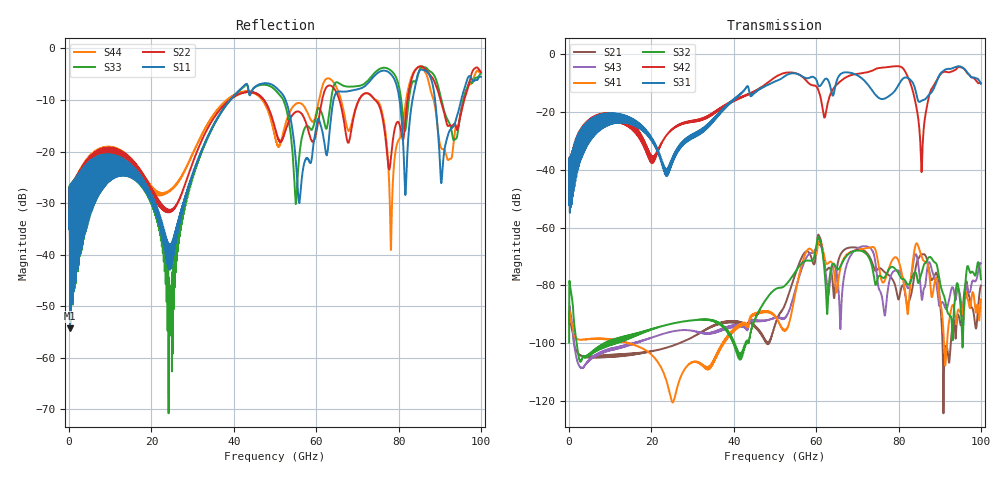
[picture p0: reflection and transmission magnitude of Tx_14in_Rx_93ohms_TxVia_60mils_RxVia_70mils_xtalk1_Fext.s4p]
! Info: Touchstone file created by Circ.  Input file=Tx_14in_Rx_93ohms_TxVia_60mils_RxVia_70mils.circ
# Hz S RI R 50
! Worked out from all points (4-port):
!   10000 points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, 10 MHz to 100 GHz, reference 50 ohm
!   strongest paths, dB at 10 MHz, 25.01 GHz, 50.01 GHz, 75.01 GHz, 100 GHz:
!     S31: -52.2, -36.8, -9.4, -14.9, -10.2
!     S42: -51.5, -26.1, -8.0, -4.8, -10.0
!     S32: -99.8, -93.3, -81.4, -77.3, -77.9
!     S41: -90.9, -120.3, -90.9, -71.8, -84.9
!     S43: -90.3, -96.0, -91.1, -79.7, -72.4
!     S21: -91.1, -101.0, -93.5, -74.2, -80.1
!   lowest |S11| = -54.3 dB at 230 MHz (marker M1), VSWR 1.00, Z = 49.9 + j0.127 ohm
!   |S11| at or under -10 dB: start of sweep to 39.15 GHz; 52.54 GHz to 64.22 GHz (11.67 GHz wide, 20 % of centre); 88.87 GHz to 95.21 GHz (6.336 GHz wide, 6.88 % of centre)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
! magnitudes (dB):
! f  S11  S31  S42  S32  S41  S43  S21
! 10 MHz  -35.1  -52.2  -51.5  -99.8  -90.9  -90.3  -91.1
! 230 MHz  -54.3  -44.1  -44.1  -80.1  -90.7  -88.4  -91.9
! 24.59 GHz  -42.5  -37.4  -26.5  -93.4  -118.3  -96.1  -101.2
! 42.67 GHz  -7.1  -12.3  -14.5  -100.8  -92.9  -94.2  -93.3
! 78.18 GHz  -5.0  -14.0  -4.3  -73.7  -72.1  -76.5  -77.2
! 85.58 GHz  -4.1  -16.1  -40.7  -75.9  -69.7  -84.2  -69.2
! 100 GHz  -5.5  -10.2  -10.0  -77.9  -84.9  -72.4  -80.1
